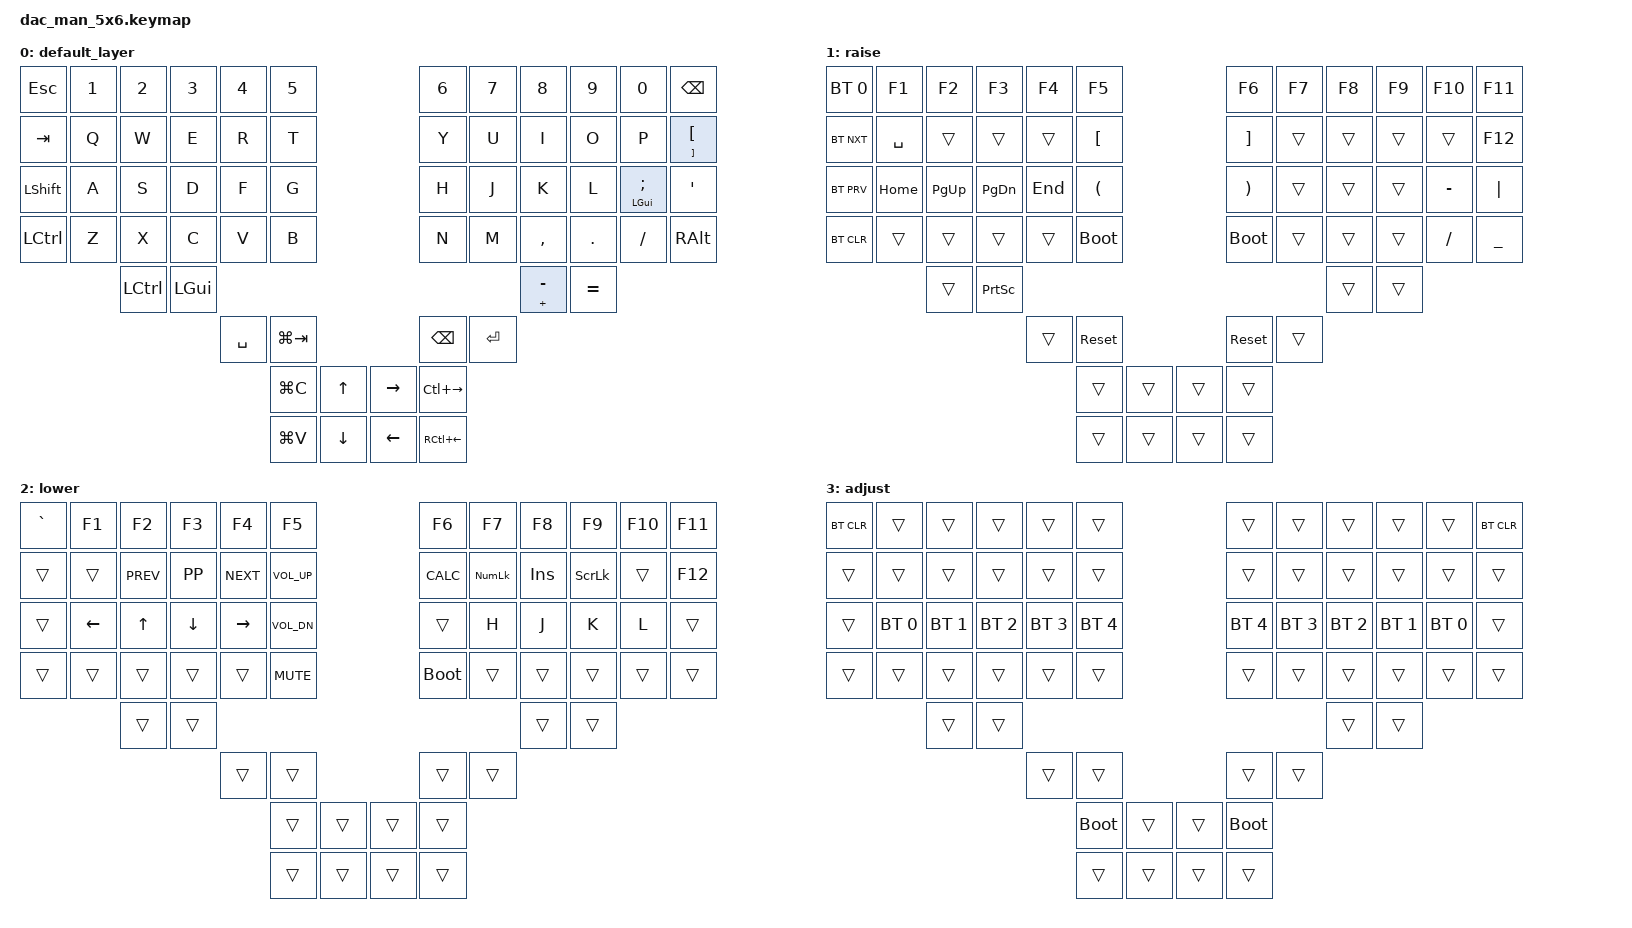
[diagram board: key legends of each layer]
#include <behaviors.dtsi>
#include <dt-bindings/zmk/bt.h>
#include <dt-bindings/zmk/keys.h>

#define DEFAULT 0
#define RAISE   1
#define LOWER   2
#define ADJUST   3

/ {
    conditional_layers {
        compatible = "zmk,conditional-layers";

        tri_layer {
            if-layers = <LOWER RAISE>;
            then-layer = <ADJUST>;
        };
    };

    macros {
        closetab: new_macro {
            compatible = "zmk,behavior-macro";
            #binding-cells = <0>;
            bindings = <&kp LG(W)>;
            label = "NEW_MACRO";
        };
    };

    keymap {
        compatible = "zmk,keymap";

        default_layer {
            bindings = <
&kp ESC         &kp N1  &kp N2            &kp N3        &kp N4     &kp N5                                        &kp N6               &kp N7     &kp N8          &kp N9     &kp N0         &kp BSPC
&kp TAB         &kp Q   &kp W             &kp E         &kp R      &kp T                                         &kp Y                &kp U      &kp I           &kp O      &kp P          &mt RIGHT_BRACKET LEFT_BRACKET
&kp LEFT_SHIFT  &kp A   &kp S             &kp D         &kp F      &kp G                                         &kp H                &kp J      &kp K           &kp L      &mt LGUI SEMI  &kp SQT
&kp LCTRL       &kp Z   &kp X             &kp C         &kp V      &kp B                                         &kp N                &kp M      &kp COMMA       &kp DOT    &kp FSLH       &kp RALT
                        &kp LEFT_CONTROL  &kp LEFT_GUI                                                                                           &mt PLUS MINUS  &kp EQUAL
                                                        &kp SPACE  &kp LG(TAB)                                   &kp BACKSPACE        &kp ENTER
                                                                   &kp LG(C)    &kp UP_ARROW    &kp RIGHT_ARROW  &kp LC(RIGHT_ARROW)
                                                                   &kp LG(V)    &kp DOWN_ARROW  &kp LEFT_ARROW   &kp RC(LEFT_ARROW)
            >;
        };

        raise {
            bindings = <
&bt BT_SEL 0  &kp F1     &kp F2     &kp F3     &kp F4   &kp F5                       &kp F6       &kp F7  &kp F8  &kp F9  &kp F10    &kp F11
&bt BT_NXT    &kp SPACE  &trans     &trans     &trans   &kp LBKT                     &kp RBKT     &trans  &trans  &trans  &trans     &kp F12
&bt BT_PRV    &kp HOME   &kp PG_UP  &kp PG_DN  &kp END  &kp LPAR                     &kp RPAR     &trans  &trans  &trans  &kp MINUS  &kp PIPE
&bt BT_CLR    &trans     &trans     &trans     &trans   &bootloader                  &bootloader  &trans  &trans  &trans  &kp FSLH   &kp UNDER
                         &trans     &kp PSCRN                                                             &trans  &trans
                                               &trans   &sys_reset                   &sys_reset   &trans
                                                        &trans       &trans  &trans  &trans
                                                        &trans       &trans  &trans  &trans
            >;
        };

        lower {
            bindings = <
&kp GRAVE  &kp F1    &kp F2      &kp F3    &kp F4      &kp F5                        &kp F6       &kp F7      &kp F8   &kp F9    &kp F10  &kp F11
&trans     &trans    &kp K_PREV  &kp K_PP  &kp K_NEXT  &kp C_VOL_UP                  &kp K_CALC   &kp KP_NUM  &kp INS  &kp SLCK  &trans   &kp F12
&trans     &kp LEFT  &kp UP      &kp DOWN  &kp RIGHT   &kp C_VOL_DN                  &trans       &kp H       &kp J    &kp K     &kp L    &trans
&trans     &trans    &trans      &trans    &trans      &kp C_MUTE                    &bootloader  &trans      &trans   &trans    &trans   &trans
                     &trans      &trans                                                                       &trans   &trans
                                           &trans      &trans                        &trans       &trans
                                                       &trans        &trans  &trans  &trans
                                                       &trans        &trans  &trans  &trans
            >;
        };

        adjust {
            bindings = <
&bt BT_CLR  &trans        &trans        &trans        &trans        &trans                        &trans        &trans        &trans        &trans        &trans        &bt BT_CLR
&trans      &trans        &trans        &trans        &trans        &trans                        &trans        &trans        &trans        &trans        &trans        &trans
&trans      &bt BT_SEL 0  &bt BT_SEL 1  &bt BT_SEL 2  &bt BT_SEL 3  &bt BT_SEL 4                  &bt BT_SEL 4  &bt BT_SEL 3  &bt BT_SEL 2  &bt BT_SEL 1  &bt BT_SEL 0  &trans
&trans      &trans        &trans        &trans        &trans        &trans                        &trans        &trans        &trans        &trans        &trans        &trans
                          &trans        &trans                                                                                &trans        &trans
                                                      &trans        &trans                        &trans        &trans
                                                                    &bootloader   &trans  &trans  &bootloader
                                                                    &trans        &trans  &trans  &trans
            >;
        };
    };
};
